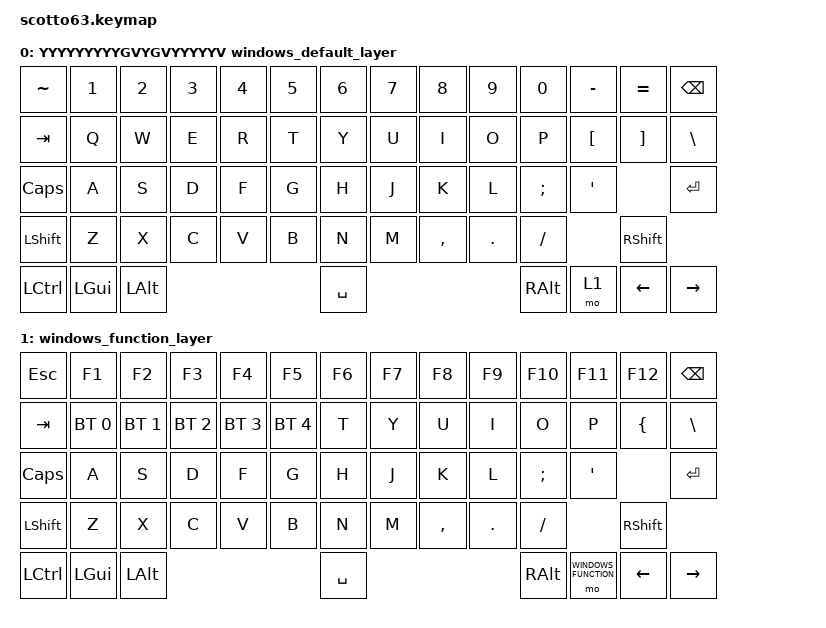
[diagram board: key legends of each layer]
#include <behaviors.dtsi>
#include <dt-bindings/zmk/keys.h>
#include <dt-bindings/zmk/bt.h>

#define WINDOWS 0
//#define WINDOWS_CODE 1
//#define WINDOWS_NUMBER 2
#define WINDOWS_FUNCTION 1

    // Behavior Overrides
    &lt {
        tapping-term-ms = <200>;
        flavor = "hold-preferred";
    };

/ {
    //combos {
      //  compatible = "zmk,combos";
        
        //combo_tab {
        //  timeout-ms = <20>;
        //  key-positions = <1 2>;
        //  bindings = <&kp TAB>;
        //};

      //  combo_enter {
        //    timeout-ms = <20>;
          //  key-positions = <13 14>;
            //bindings = <&kp ENTER>;
        //};
    //};

    macros {
        spotlight: spotlight {
            label = "spotlight";
            compatible = "zmk,behavior-macro";
            #binding-cells = <0>;
            bindings = <&macro_press &kp LGUI>, <&macro_tap &kp SPACE>, <&macro_release &kp LGUI>; 
        };

        // Emoji
        mac_emoji: mac_emoji {
            label = "mac_emoji";
            compatible = "zmk,behavior-macro";
            #binding-cells = <0>;
            bindings = <&macro_press &kp LGUI>, <&macro_press &kp LCTRL>, <&macro_tap &kp SPACE>, <&macro_release &kp LCTRL>, <&macro_release &kp LGUI>; 
        };

        win_emoji: win_emoji {
            label = "win_emoji";
            compatible = "zmk,behavior-macro";
            #binding-cells = <0>;
            bindings = <&macro_press &kp LGUI>, <&macro_tap &kp DOT>, <&macro_release &kp LGUI>; 
        };
    };

    behaviors {
        bm: bottom_row_mods {
            compatible = "zmk,behavior-hold-tap";
            label = "BOTTOM_ROW_MODS";
            #binding-cells = <2>;
            tapping-term-ms = <135>;
            quick-tap-ms = <0>;
            flavor = "tap-preferred";
            bindings = <&kp>, <&kp>;
        };

        cm: code_row_mods {
            compatible = "zmk,behavior-hold-tap";
            label = "CODE_ROW_MODS";
            #binding-cells = <2>;
            tapping-term-ms = <200>;
            quick-tap-ms = <0>;
            flavor = "tap-preferred";
            bindings = <&kp>, <&kp>;
            retro-tap;
        };

        sm: space_mod {
            compatible = "zmk,behavior-hold-tap";
            label = "SPACE_MOD";
            #binding-cells = <2>;
            flavor = "balanced";
            tapping-term-ms = <200>;
            quick-tap-ms = <125>;
            bindings = <&kp>, <&kp>;
        };
    };
    
    keymap {
        compatible = "zmk,keymap";
YYYYYYYYYGVYGVYYYYYV
        

        windows_default_layer {
            bindings = <
                &kp TILDE        &kp N1        &kp N2       &kp N3   &kp N4   &kp N5    &kp N6    &kp N7     &kp N8             &kp N9                   &kp N0               &kp MINUS            &kp EQUAL         &kp BACKSPACE
                &kp TAB          &kp Q         &kp W        &kp E    &kp R    &kp T     &kp Y     &kp U      &kp I              &kp O                    &kp P                &kp LEFT_BRACKET     &kp RIGHT_BRACKET &kp BACKSLASH
                &kp CAPS         &kp A         &kp S        &kp D    &kp F    &kp G     &kp H     &kp J      &kp K              &kp L                    &kp SEMICOLON        &kp APOSTROPHE                         &kp RETURN            
                &kp LSHIFT       &kp Z         &kp X        &kp C    &kp V    &kp B     &kp N     &kp M      &kp COMMA          &kp PERIOD               &kp SLASH                                 &kp RSHIFT  
                &kp LEFT_CONTROL &kp LEFT_GUI  &kp LEFT_ALT                             &kp SPACE                                                        &kp RIGHT_ALT        &mo 1                &kp LEFT_ARROW    &kp RIGHT_ARROW
                                   
            >;
        };
        // // &none    &kp LGUI &kp LALT  &sm LCTRL SPACE &none  &lt WINDOWS_CODE TAB &lt WINDOWS_NUMBER ENTER &td_multi_windows &none
        // windows_code_layer {
        //     bindings = <
        //         &trans &none                   &none                &none                 &none             &none                              &none     &none             &none            &none            &none                &trans
        //         &trans &kp UNDER               &kp MINUS            &kp PLUS              &kp EQUAL         &kp COLON                          &kp GRAVE &kp C_PREVIOUS    &kp C_PLAY_PAUSE &kp C_NEXT       &kp DELETE           &trans
        //         &trans &kp LEFT_BRACE          &kp LEFT_PARENTHESIS &kp RIGHT_PARENTHESIS &kp RIGHT_BRACE   &kp PIPE      &trans &trans &trans &kp ESC   &kp LEFT          &kp UP           &kp DOWN         &kp RIGHT            &trans
        //         &trans &cm LSHIFT LEFT_BRACKET &kp APOSTROPHE       &kp DOUBLE_QUOTES     &kp RIGHT_BRACKET &kp SEMICOLON &trans &trans &trans &kp TILDE &kp C_VOLUME_DOWN &kp C_MUTE       &kp C_VOLUME_UP  &cm RSHIFT BACKSLASH &trans
        //                                                             &trans                &trans            &trans        &trans &trans &trans &trans    &trans            &trans
        //     >;
        // };

        // windows_number_layer {
        //     bindings = <
        //         &trans &none           &none       &none    &none      &none                                     &none     &none         &none        &none      &none         &trans
        //         &trans &kp EXCLAMATION &kp AT_SIGN &kp HASH &kp DOLLAR &kp PERCENT                               &kp CARET &kp AMPERSAND &kp ASTERISK &kp CAPS   &kp BACKSPACE &trans
        //         &trans &kp N1          &kp N2      &kp N3   &kp N4     &kp N5               &trans &trans &trans &kp N6    &kp N7        &kp N8       &kp N9     &kp N0        &trans
        //         &trans &kp LSHIFT      &none       &none    &none      &mo WINDOWS_FUNCTION &trans &trans &trans &none     &none         &kp COMMA    &kp PERIOD &kp RSHIFT    &trans
        //                                            &trans   &trans     &trans               &trans &trans &trans &trans    &trans        &trans
        //     >;
        // };

        windows_function_layer {
            bindings = <
                &kp ESC          &kp F1        &kp F2       &kp F3       &kp F4       &kp F5          &kp F6    &kp F7     &kp F8             &kp F9                   &kp F10           &kp F11              &kp F12           &kp BACKSPACE
                &kp TAB          &bt BT_SEL 0  &bt BT_SEL 1 &bt BT_SEL 2 &bt BT_SEL 3 &bt BT_SEL 4    &kp T     &kp Y      &kp U              &kp I                    &kp O             &kp P                &kp LEFT_BRACE    &kp BACKSLASH
                &kp CAPS         &kp A         &kp S        &kp D        &kp F        &kp G           &kp H     &kp J      &kp K              &kp L                    &kp SEMICOLON     &kp APOSTROPHE                         &kp ENTER            
                &kp LSHIFT       &kp Z         &kp X        &kp C        &kp V        &kp B           &kp N     &kp M      &kp COMMA          &kp PERIOD               &kp SLASH                              &kp RSHIFT  
                &kp LEFT_CONTROL &kp LEFT_GUI  &kp LEFT_ALT                                           &kp SPACE                                                        &kp RIGHT_ALT     &mo WINDOWS_FUNCTION &kp LEFT_ARROW    &kp RIGHT_ARROW
                                   
            >;
        };
    };
};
